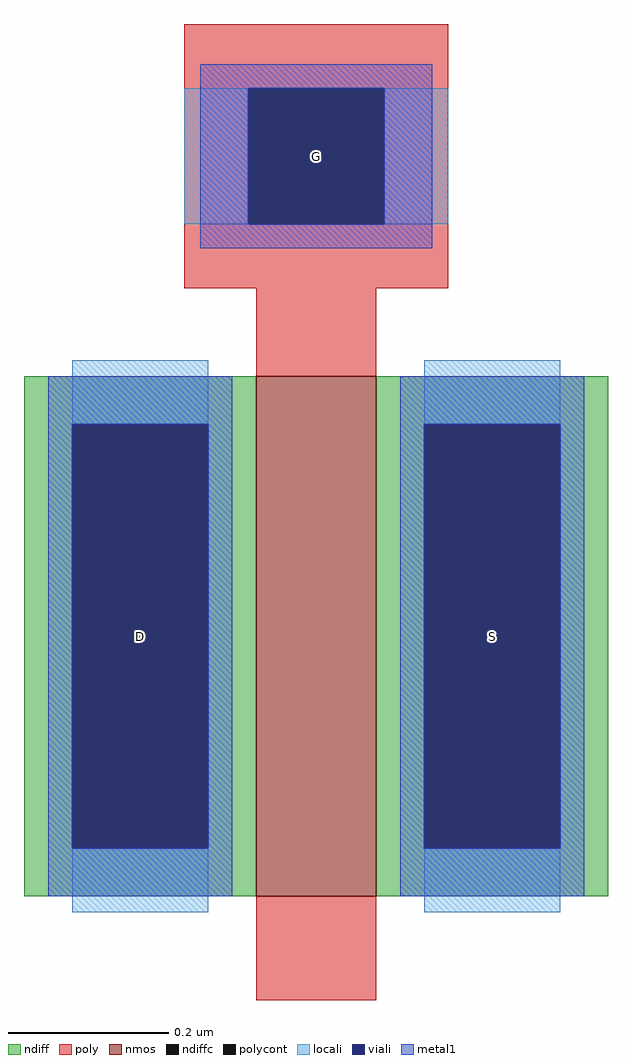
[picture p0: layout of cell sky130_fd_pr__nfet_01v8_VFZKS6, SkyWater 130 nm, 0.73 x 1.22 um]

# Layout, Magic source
magic
tech sky130A
magscale 1 2
<< nmos >>
rect -15 -96 15 34
<< ndiff >>
rect -73 22 -15 34
rect -73 -84 -61 22
rect -27 -84 -15 22
rect -73 -96 -15 -84
rect 15 22 73 34
rect 15 -84 27 22
rect 61 -84 73 22
rect 15 -96 73 -84
<< ndiffc >>
rect -61 -84 -27 22
rect 27 -84 61 22
<< poly >>
rect -33 106 33 122
rect -33 72 -17 106
rect 17 72 33 106
rect -33 56 33 72
rect -15 34 15 56
rect -15 -122 15 -96
<< polycont >>
rect -17 72 17 106
<< locali >>
rect -33 72 -17 106
rect 17 72 33 106
rect -61 22 -27 38
rect -61 -100 -27 -84
rect 27 22 61 38
rect 27 -100 61 -84
<< viali >>
rect -17 72 17 106
rect -61 -84 -27 22
rect 27 -84 61 22
<< metal1 >>
rect -29 106 29 112
rect -29 72 -17 106
rect 17 72 29 106
rect -29 66 29 72
rect -67 22 -21 34
rect -67 -84 -61 22
rect -27 -84 -21 22
rect -67 -96 -21 -84
rect 21 22 67 34
rect 21 -84 27 22
rect 61 -84 67 22
rect 21 -96 67 -84
<< labels >>
rlabel ndiffc -44 -31 -44 -31 0 D
port 10 nsew
rlabel ndiffc 44 -31 44 -31 0 S
port 11 nsew
rlabel polycont 0 89 0 89 0 G
port 12 nsew
<< properties >>
string gencell sky130_fd_pr__nfet_01v8
string library sky130
string parameters w 0.65 l 0.15 m 1 nf 1 diffcov 100 polycov 100 guard 0 glc 0 grc 0 gtc 0 gbc 0 tbcov 100 rlcov 100 topc 1 botc 0 poverlap 0 doverlap 1 lmin 0.15 wmin 0.42 class mosfet compatible {sky130_fd_pr__nfet_01v8 sky130_fd_pr__nfet_01v8_lvt  sky130_fd_bs_flash__special_sonosfet_star  sky130_fd_pr__nfet_g5v0d10v5 sky130_fd_pr__nfet_05v0_nvt  sky130_fd_pr__nfet_03v3_nvt} full_metal 1 viasrc 100 viadrn 100 viagate 100 viagb 0 viagr 0 viagl 0 viagt 0 doports 1
<< end >>
